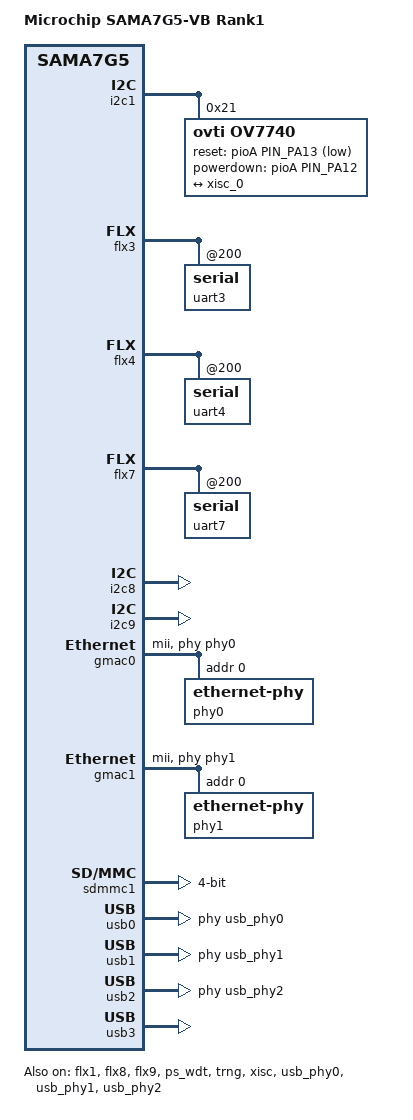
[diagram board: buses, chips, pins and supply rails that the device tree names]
// SPDX-License-Identifier: (GPL-2.0+ OR MIT)
/*
 * at91-sama7g5vb-rank1.dts - Device Tree file for SAMA7G5-VB board rank1
 *
 *  Copyright (c) 2020, Microchip Technology Inc. and its subsidiaries
 *
 *  Author: Eugen Hristev <eugen.hristev@microchip.com>
 *  Author: Claudiu Beznea <claudiu.beznea@microchip.com>
 *
 */
/dts-v1/;
#include "sama7g5-pinfunc.h"
#include "sama7g5.dtsi"
#include <dt-bindings/mfd/atmel-flexcom.h>
#include <dt-bindings/input/input.h>

/ {
	model = "Microchip SAMA7G5-VB Rank1";
	compatible = "microchip,sama7g5vb", "microchip,sama7g5", "microchip,sama7";

	chosen {
		bootargs = "console=ttyS0,115200 earlycon earlyprintk=serial,ttyS0 ignore_loglevel rw root=/dev/mmcblk0p2 memtest=0 rootfstype=ext4 rootwait cma=256m";
		stdout-path = "serial0:115200n8";
	};

	aliases {
		serial0 = &uart3;
		i2c0 = &i2c1;
		i2c1 = &i2c8;
		i2c2 = &i2c9;
	};

	clocks {
		slow_xtal {
			clock-frequency = <32768>;
		};

		main_xtal {
			clock-frequency = <24000000>;
		};
	};
};

&dma0 {
	status = "okay";
};

&dma1 {
	status = "okay";
};

&dma2 {
	status = "okay";
};

&flx0 {
	atmel,flexcom-mode = <ATMEL_FLEXCOM_MODE_USART>;
	status = "disabled";

	uart0: serial@200 {
		pinctrl-names = "default";
		pinctrl-0 = <&pinctrl_flx0_default>;
		status = "disabled";
	};
};

&flx1 {
	atmel,flexcom-mode = <ATMEL_FLEXCOM_MODE_TWI>;
	status = "okay";

	i2c1: i2c@600 {
		pinctrl-names = "default";
		pinctrl-0 = <&pinctrl_i2c1_default>;
		i2c-analog-filter;
		i2c-digital-filter;
		i2c-digital-filter-width-ns = <35>;
		status = "okay";
	};
};

&flx3 {
	atmel,flexcom-mode = <ATMEL_FLEXCOM_MODE_USART>;
	status = "okay";

	uart3: serial@200 {
		pinctrl-names = "default";
		pinctrl-0 = <&pinctrl_flx3_default>;
		status = "okay";
	};
};

&flx4 {
	atmel,flexcom-mode = <ATMEL_FLEXCOM_MODE_USART>;
	status = "okay";

	uart4: serial@200 {
		pinctrl-names = "default";
		pinctrl-0 = <&pinctrl_flx4_default>;
		status = "okay";
	};
};

&flx7 {
	atmel,flexcom-mode = <ATMEL_FLEXCOM_MODE_USART>;
	status = "okay";

	uart7: serial@200 {
		pinctrl-names = "default";
		pinctrl-0 = <&pinctrl_flx7_default>;
		status = "okay";
	};
};

&flx8 {
	atmel,flexcom-mode = <ATMEL_FLEXCOM_MODE_TWI>;
	status = "okay";

	i2c8: i2c@600 {
		pinctrl-names = "default";
		pinctrl-0 = <&pinctrl_i2c8_default>;
		i2c-analog-filter;
		i2c-digital-filter;
		i2c-digital-filter-width-ns = <35>;
		status = "okay";
	};
};

&flx9 {
	atmel,flexcom-mode = <ATMEL_FLEXCOM_MODE_TWI>;
	status = "okay";

	i2c9: i2c@600 {
		pinctrl-names = "default";
		pinctrl-0 = <&pinctrl_i2c9_default>;
		i2c-analog-filter;
		i2c-digital-filter;
		i2c-digital-filter-width-ns = <35>;
		status = "okay";
	};
};

&gic {
	status = "okay";
};

&gmac0 {
	#address-cells = <1>;
	#size-cells = <0>;
	pinctrl-names = "default";
	pinctrl-0 = <&pinctrl_gmac0_default &pinctrl_gmac0_txclk_default>;
	phy-mode = "mii";
	phy-handle = <&phy0>;
	status = "okay";

	phy0: ethernet-phy@0 {
		reg = <0>;
	};
};

&gmac1 {
	#address-cells = <1>;
	#size-cells = <0>;
	pinctrl-names = "default";
	pinctrl-0 = <&pinctrl_gmac1_default &pinctrl_gmac1_txclk_default>;
	phy-mode = "mii";
	phy-handle = <&phy1>;
	status = "okay";

	phy1: ethernet-phy@0 {
		reg = <0x0>;
	};
};

&pioA {
	pinctrl_flx0_default: flx0_default {
		pinmux = <PIN_PE3__FLEXCOM0_IO0>,
			 <PIN_PE4__FLEXCOM0_IO1>,
			 <PIN_PE6__FLEXCOM0_IO3>,
			 <PIN_PE7__FLEXCOM0_IO4>;
		bias-disable;
	};

	pinctrl_flx3_default: flx3_default {
		pinmux = <PIN_PD16__FLEXCOM3_IO0>,
			 <PIN_PD17__FLEXCOM3_IO1>;
		bias-disable;
	};

	pinctrl_flx4_default: flx4_default {
		pinmux = <PIN_PD18__FLEXCOM4_IO0>,
			 <PIN_PD19__FLEXCOM4_IO1>;
		bias-disable;
	};

	pinctrl_flx7_default: flx7_default {
		pinmux = <PIN_PC23__FLEXCOM7_IO0>,
			 <PIN_PC24__FLEXCOM7_IO1>;
		bias-disable;
	};

	pinctrl_gmac0_default: gmac0_default {
		pinmux = <PIN_PA19__G0_RX0>,
				<PIN_PA20__G0_RX1>,
				<PIN_PA30__G0_RXCK>,
				<PIN_PA26__G0_TX2>,
				<PIN_PA27__G0_TX3>,
				<PIN_PA28__G0_RX2>,
				<PIN_PA29__G0_RX3>,
				<PIN_PA22__G0_MDC>,
				<PIN_PB0__G0_COL>,
				<PIN_PA16__G0_TX0>,
				<PIN_PA17__G0_TX1>,
				<PIN_PA18__G0_RXDV>,
				<PIN_PA23__G0_MDIO>,
				<PIN_PB1__G0_CRS>,
				<PIN_PA31__G0_TXER>,
				<PIN_PA15__G0_TXEN>,
				<PIN_PA21__G0_RXER>,
				<PIN_PA25__G0_125CK>;
		bias-disable;
	};

	pinctrl_gmac0_txclk_default: gmac0_txclk_default {
		pinmux = <PIN_PA24__G0_TXCK>;
		bias-disable;
	};

	pinctrl_gmac1_default: gmac1_default {
		pinmux = <PIN_PD25__G1_RX0>,
			 <PIN_PD26__G1_RX1>,
			 <PIN_PD22__G1_TX0>,
			 <PIN_PD23__G1_TX1>,
			 <PIN_PD31__G1_TX2>,
			 <PIN_PE0__G1_TX3>,
			 <PIN_PE3__G1_RXCK>,
			 <PIN_PD28__G1_MDC>,
			 <PIN_PD29__G1_MDIO>,
			 <PIN_PE5__G1_COL>,
			 <PIN_PE6__G1_CRS>,
			 <PIN_PD24__G1_RXDV>,
			 <PIN_PE4__G1_TXER>,
			 <PIN_PD27__G1_RXER>,
			<PIN_PE1__G1_RX2>,
			 <PIN_PE2__G1_RX3>,
			 <PIN_PD21__G1_TXEN>;
		bias-disable;
	};

	pinctrl_gmac1_txclk_default: gmac1_txclk_default {
		pinmux = <PIN_PD30__G1_TXCK>;
		bias-disable;
	};

	pinctrl_i2c1_default: i2c1_default {
		pinmux = <PIN_PC9__FLEXCOM1_IO0>,
			 <PIN_PC10__FLEXCOM1_IO1>;
		bias-disable;
	};

	pinctrl_i2c8_default: i2c8_default {
		pinmux = <PIN_PC14__FLEXCOM8_IO0>,
			 <PIN_PC13__FLEXCOM8_IO1>;
		bias-disable;
	};

	pinctrl_i2c9_default: i2c9_default {
		pinmux = <PIN_PC18__FLEXCOM9_IO0>,
			 <PIN_PC19__FLEXCOM9_IO1>;
		bias-disable;
	};

	pinctrl_sdmmc1_default: sdmmc1_default {
		cmd_data {
			pinmux = <PIN_PB29__SDMMC1_CMD>,
				 <PIN_PB31__SDMMC1_DAT0>,
				 <PIN_PC0__SDMMC1_DAT1>,
				 <PIN_PC1__SDMMC1_DAT2>,
				 <PIN_PC2__SDMMC1_DAT3>;
			bias-pull-up;
		};

		ck_cd_rstn_vddsel {
			pinmux = <PIN_PB30__SDMMC1_CK>,
				 <PIN_PB28__SDMMC1_RSTN>,
				 <PIN_PC5__SDMMC1_1V8SEL>,
				 <PIN_PC4__SDMMC1_CD>;
			bias-pull-up;
		};
	};
};

&ps_wdt {
	status = "okay";
};

&sdmmc1 {
	bus-width = <4>;
	mmc-ddr-3_3v;
	pinctrl-names = "default";
	pinctrl-0 = <&pinctrl_sdmmc1_default>;
	status = "okay";
};

&trng {
	status = "okay";
};

&pioA {
	pinctrl_isc_base: isc_base {
		pinmux = <PIN_PA27__ISC_PCK>,
			 <PIN_PA25__ISC_VSYNC>,
			 <PIN_PA24__ISC_HSYNC>,
			 <PIN_PA15__ISC_MCK>;
		bias-disable;
	};

	pinctrl_isc_data_8bit: isc_data_8bit {
		pinmux = <PIN_PA31__ISC_D11>,
			 <PIN_PA30__ISC_D10>,
			 <PIN_PA29__ISC_D9>,
			 <PIN_PA28__ISC_D8>,
			 <PIN_PA23__ISC_D7>,
			 <PIN_PA22__ISC_D6>,
			 <PIN_PA21__ISC_D5>,
			 <PIN_PA20__ISC_D4>;
		bias-disable;
	};
};

&xisc {
	pinctrl-names = "default";
	pinctrl-0 = <&pinctrl_isc_base &pinctrl_isc_data_8bit>;
	status = "okay";

	port {
		xisc_0: endpoint@0 {
			remote-endpoint = <&ov7740_0>;
			hsync-active = <1>;
			vsync-active = <0>;
			pclk-sample = <1>;
		};
	};
};

&i2c1 {
	#address-cells = <1>;
	#size-cells = <0>;

	ov7740: camera@21 {
		compatible = "ovti,ov7740";
		reg = <0x21>;
		pinctrl-names = "default";
		pinctrl-0 = <&pinctrl_sensor_power &pinctrl_sensor_reset>;
		reset-gpios = <&pioA PIN_PA13 GPIO_ACTIVE_LOW>;
		powerdown-gpios = <&pioA PIN_PA12 GPIO_ACTIVE_HIGH>;
		clocks = <&xisc>;
		clock-names = "xvclk";
		assigned-clocks = <&xisc>;
		assigned-clock-rates = <24000000>;
		status = "okay";

		port {
			ov7740_0: endpoint {
				remote-endpoint = <&xisc_0>;
				hsync-active = <1>;
				vsync-active = <0>;
				pclk-sample = <1>;
			};
		};
	};
};

&pioA {
	pinctrl_sensor_power: sensor_power {
		pinmux = <PIN_PA12__GPIO>;
		bias-disable;
	};

	pinctrl_sensor_reset: sensor_reset {
		pinmux = <PIN_PA13__GPIO>;
		bias-disable;
	};

	pinctrl_usb_default: usb_default {
		pinmux = <PIN_PC17__GPIO>;
		bias-disable;
	};

	pinctrl_usba_vbus: usba_vbus {
		pinmux = <PIN_PC11__GPIO>;
		bias-disable;
	};

	pinctrl_usbb_vbus: usbb_vbus {
		pinmux = <PIN_PC16__GPIO>;
		bias-disable;
	};
};

&usb0 {
	atmel,vbus-gpio = <&pioA PIN_PC11 GPIO_ACTIVE_HIGH>;
	pinctrl-names = "default";
	pinctrl-0 = <&pinctrl_usba_vbus>;
	phys = <&usb_phy0>;
	phy-names = "usb";
	status = "okay";
};

&usb1 {
	atmel,vbus-gpio = <&pioA PIN_PC16 GPIO_ACTIVE_HIGH>;
	pinctrl-names = "default";
	pinctrl-0 = <&pinctrl_usbb_vbus>;
	phys = <&usb_phy1>;
	phy-names = "usb";
	status = "okay";
};

&usb2 {
	num-ports = <3>;
	atmel,vbus-gpio = <0
			   0
			   &pioA PIN_PC17 GPIO_ACTIVE_HIGH
			  >;
	pinctrl-names = "default";
	pinctrl-0 = <&pinctrl_usb_default>;
	phys = <&usb_phy2>;
	phy-names = "usb";
	status = "okay";
};

&usb3 {
	status = "okay";
};

&usb_phy0 {
	status = "okay";
};

&usb_phy1 {
	status = "okay";
};

&usb_phy2 {
	status = "okay";
};
